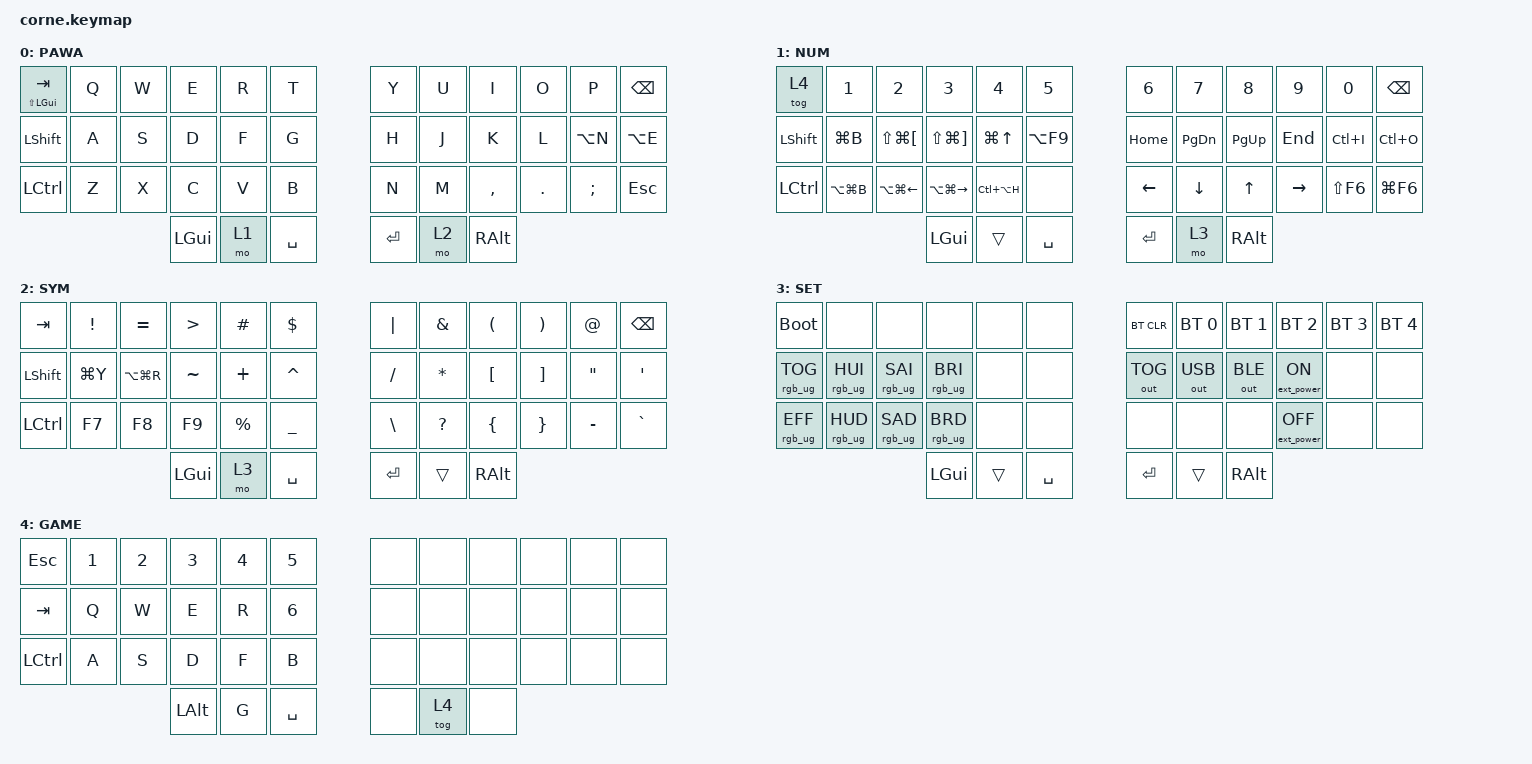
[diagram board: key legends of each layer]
/*
 * Copyright (c) 2020 The ZMK Contributors
 *
 * SPDX-License-Identifier: MIT
 *
 * Keymap "pawa" — ported from QMK (crkbd/rev1, LAYOUT_split_3x6_3)
 */

#include <behaviors.dtsi>
#include <dt-bindings/zmk/keys.h>
#include <dt-bindings/zmk/bt.h>
#include <dt-bindings/zmk/rgb.h>
#include <dt-bindings/zmk/outputs.h>
#include <dt-bindings/zmk/ext_power.h>

/*
 * The Corne LED chain per half: 6 underglow LEDs first, then 21 per-key LEDs.
 * The stock shield only drives 10, so the per-key LEDs never light up.
 * This lives in the keymap because it is the last devicetree overlay applied.
 */
&led_strip {
    chain-length = <27>;
};

/ {
        keymap {
                compatible = "zmk,keymap";

                default_layer {
                        display-name = "PAWA";
// -----------------------------------------------------------------------------------------
// | SG/TAB |  Q  |  W  |  E  |  R  |  T  |   |  Y  |  U  |  I  |  O  |  P    | BSPC  |
// | SHFT   |  A  |  S  |  D  |  F  |  G  |   |  H  |  J  |  K  |  L  | ALT+N | ALT+E |
// | CTRL   |  Z  |  X  |  C  |  V  |  B  |   |  N  |  M  |  ,  |  .  |  ;    | ESC   |
//                      | GUI | LWR | SPC |   | ENT | RSE | ALT |
                        bindings = <
   &mt LS(LGUI) TAB &kp Q &kp W &kp E &kp R &kp T   &kp Y &kp U &kp I     &kp O   &kp P     &kp BSPC
   &kp LSHFT        &kp A &kp S &kp D &kp F &kp G   &kp H &kp J &kp K     &kp L   &kp LA(N) &kp LA(E)
   &kp LCTRL        &kp Z &kp X &kp C &kp V &kp B   &kp N &kp M &kp COMMA &kp DOT &kp SEMI  &kp ESC
                         &kp LGUI &mo 1 &kp SPACE   &kp RET &mo 2 &kp RALT
                        >;
                };

                lower_layer {
                        display-name = "NUM";
// -----------------------------------------------------------------------------------------
// | TG(4) |  1    |  2     |  3     |  4    |  5    |   |  6   |  7   |  8   |  9  |  0   | BSPC |
// | SHFT  | G+B   | SG+[   | SG+]   | G+UP  | A+F9  |   | HOME | PGDN | PGUP | END | C+I  | C+O  |
// | CTRL  | AG+B  | AG+LFT | AG+RGT | CA+H  |       |   | LFT  | DWN  | UP   | RGT | S+F6 | G+F6 |
//                          | GUI    |       | SPC   |   | ENT  | MO3  | ALT  |
                        bindings = <
   &tog 4    &kp N1        &kp N2           &kp N3            &kp N4        &kp N5       &kp N6   &kp N7    &kp N8    &kp N9    &kp N0     &kp BSPC
   &kp LSHFT &kp LG(B)     &kp LS(LG(LBKT)) &kp LS(LG(RBKT))  &kp LG(UP)    &kp LA(F9)   &kp HOME &kp PG_DN &kp PG_UP &kp END   &kp LC(I)  &kp LC(O)
   &kp LCTRL &kp LA(LG(B)) &kp LA(LG(LEFT)) &kp LA(LG(RIGHT)) &kp LC(LA(H)) &none        &kp LEFT &kp DOWN  &kp UP    &kp RIGHT &kp LS(F6) &kp LG(F6)
                                &kp LGUI &trans &kp SPACE     &kp RET &mo 3 &kp RALT
                        >;
                };

                raise_layer {
                        display-name = "SYM";
// -----------------------------------------------------------------------------------------
// | TAB  |  !   |  =   |  >  |  #  |  $  |   |  |  |  &  |  (  |  )  |  @  | BSPC |
// | SHFT | G+Y  | AG+R |  ~  |  +  |  ^  |   |  /  |  *  |  [  |  ]  |  "  |  '   |
// | CTRL |  F7  |  F8  | F9  |  %  |  _  |   |  \  |  ?  |  {  |  }  |  -  |  `   |
//                      | GUI | MO3 | SPC |   | ENT |     | ALT |
                        bindings = <
   &kp TAB   &kp EXCL  &kp EQUAL     &kp GT    &kp HASH  &kp DLLR    &kp PIPE &kp AMPS  &kp LPAR &kp RPAR &kp AT    &kp BSPC
   &kp LSHFT &kp LG(Y) &kp LA(LG(R)) &kp TILDE &kp PLUS  &kp CARET   &kp FSLH &kp ASTRK &kp LBKT &kp RBKT &kp DQT   &kp SQT
   &kp LCTRL &kp F7    &kp F8        &kp F9    &kp PRCNT &kp UNDER   &kp BSLH &kp QMARK &kp LBRC &kp RBRC &kp MINUS &kp GRAVE
                          &kp LGUI &mo 3 &kp SPACE              &kp RET &trans &kp RALT
                        >;
                };

                adjust_layer {
                        display-name = "SET";
// -----------------------------------------------------------------------------------------
// | BOOT   |      |      |      |     |     |   | BTCLR | BT0 | BT1 | BT2   | BT3   | BT4 |
// | RGBTOG | HUI  | SAI  | BRI  |     |     |   | OUT_T | USB | BLE | EP_ON |       |     |
// | RGBEFF | HUD  | SAD  | BRD  |     |     |   |       |     |     | EP_OFF|       |     |
//                       | GUI  |     | SPC |   | ENT   |     | ALT |
                        bindings = <
   &bootloader     &none           &none           &none           &none &none   &bt BT_CLR   &bt BT_SEL 0 &bt BT_SEL 1 &bt BT_SEL 2       &bt BT_SEL 3 &bt BT_SEL 4
   &rgb_ug RGB_TOG &rgb_ug RGB_HUI &rgb_ug RGB_SAI &rgb_ug RGB_BRI &none &none   &out OUT_TOG &out OUT_USB &out OUT_BLE &ext_power EP_ON   &none        &none
   &rgb_ug RGB_EFF &rgb_ug RGB_HUD &rgb_ug RGB_SAD &rgb_ug RGB_BRD &none &none   &none        &none        &none        &ext_power EP_OFF  &none        &none
                                          &kp LGUI &trans &kp SPACE            &kp RET &trans &kp RALT
                        >;
                };

                game_layer {
                        display-name = "GAME";
// -----------------------------------------------------------------------------------------
// | ESC  |  1  |  2  |  3  |  4  |  5  |   |     |       |     |     |     |     |
// | TAB  |  Q  |  W  |  E  |  R  |  6  |   |     |       |     |     |     |     |
// | CTRL |  A  |  S  |  D  |  F  |  B  |   |     |       |     |     |     |     |
//                    | ALT |  G  | SPC |   |     | TG(4) |     |
                        bindings = <
   &kp ESC   &kp N1 &kp N2 &kp N3 &kp N4 &kp N5   &none &none &none &none &none &none
   &kp TAB   &kp Q  &kp W  &kp E  &kp R  &kp N6   &none &none &none &none &none &none
   &kp LCTRL &kp A  &kp S  &kp D  &kp F  &kp B    &none &none &none &none &none &none
                    &kp LALT &kp G &kp SPACE      &none &tog 4 &none
                        >;
                };
        };
};
